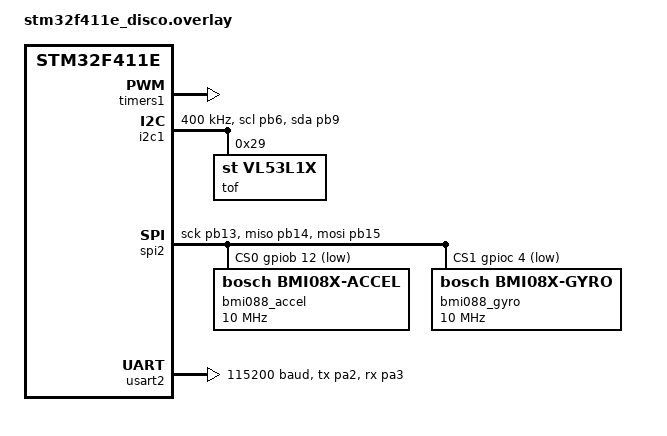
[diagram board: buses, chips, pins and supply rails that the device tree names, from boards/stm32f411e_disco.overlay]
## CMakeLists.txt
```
# SPDX-License-Identifier: Apache-2.0

cmake_minimum_required(VERSION 3.20.0)

find_package(Zephyr REQUIRED HINTS $ENV{ZEPHYR_BASE})
project(flight_controller)

target_sources(app PRIVATE src/main.c
                           src/log.c
                           src/pid/pid.c
                           src/esc/esc.c
                           src/sensors/sensors.c
                           src/comm/uart.c)

# Real-hardware comm/sensor drivers. Their file-scope DEVICE_DT_GET(DT_ALIAS(...))
# only resolves on the real board overlay, and their call sites in sensors.c are
# all guarded out in simulation mode, so exclude them from the simulation build.
target_sources_ifndef(CONFIG_SIMULATION_MODE app PRIVATE
                      src/sensors/barometer/ms5611.c
                      src/sensors/tof/vl53l1x.c
                      src/sensors/imu/bmi088.c
                      src/comm/i2c.c
                      src/comm/spi.c)

target_include_directories(app PRIVATE src
                                       src/pid
                                       src/esc
                                       src/sensors
                                       src/sensors/barometer
                                       src/sensors/tof
                                       src/sensors/imu
                                       src/comm)
```

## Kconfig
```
# SPDX-License-Identifier: Apache-2.0

mainmenu "Virtual PID Application"

config SIMULATION_MODE
	bool "Enable simulation mode"
	default n
	help
	  When enabled, send_motor_command() prints the motor throttle values
	  to the console so the host-side drone simulation can read them.
	  Disable this on real hardware where the motors are driven directly.

config ESC_VERIFY_MODE
	bool "Enable ESC verification ramp"
	default n
	help
	  Enable a temporary throttle ramp for ESC verification tests.
	  When disabled, the application uses the standard fixed throttle output.

config ESC_VERIFY_DELAY_MS
	int "ESC verification startup delay in milliseconds"
	default 10000
	range 0 600000
	depends on ESC_VERIFY_MODE
	help
	  Delay before the ESC verification throttle ramp starts.

config ESC_VERIFY_INTERVAL_MS
	int "ESC verification ramp update interval in milliseconds"
	default 200
	range 0 600000
	depends on ESC_VERIFY_MODE
	help
	  Time between each throttle increment during the ESC verification ramp.

config ESC_VERIFY_START_THROTTLE_PROMILLE
	int "ESC verification initial throttle in permille"
	default 150
	range 0 1000
	depends on ESC_VERIFY_MODE
	help
	  Initial throttle value used by the ESC verification ramp.

config ESC_VERIFY_STEP_PROMILLE
	int "ESC verification throttle step in permille"
	default 20
	range 0 1000
	depends on ESC_VERIFY_MODE
	help
	  Increment step used by the ESC verification ramp.

config ESC_VERIFY_MAX_THROTTLE_PROMILLE
	int "ESC verification maximum throttle in permille"
	default 500
	range 0 1000
	depends on ESC_VERIFY_MODE
	help
	  Maximum throttle value reached by the ESC verification ramp.

config APP_LOG
	bool "Enable application logging over UART"
	depends on SERIAL && UART_CONSOLE
	default y
	help
	  When enabled, log_print() writes formatted diagnostic messages to the
	  UART console. When disabled (for example on targets without a UART
	  console), log_print() compiles to a no-op so that no message is
	  formatted or sent.

source "Kconfig.zephyr"
```

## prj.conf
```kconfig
# Simulation mode: motor commands are printed to the console so the
# host-side drone simulation can read them.
CONFIG_SIMULATION_MODE=n

# Enable floating-point support in printf/printk so the altitude (in meters,
# with decimals) can be logged with "%f". Without this, "%f" is not formatted
# and would also corrupt the following integer argument in the same printf.
CONFIG_CBPRINTF_FP_SUPPORT=y

# Temporary ESC verification ramp only when needed.
CONFIG_ESC_VERIFY_MODE=n
#CONFIG_ESC_VERIFY_START_THROTTLE_PROMILLE=300
#CONFIG_ESC_VERIFY_MAX_THROTTLE_PROMILLE=500

# Peripheral drivers
CONFIG_PWM=y
CONFIG_I2C=y
# SPI bus for the BMI088 IMU (accelerometer + gyroscope on SPI2).
CONFIG_SPI=y

# Sensor subsystem + VL53L1X time-of-flight distance sensor
CONFIG_SENSOR=y
CONFIG_VL53L1X=y
# Polling mode (no INT pin wired). Set to y and add int-gpios to use interrupts.
CONFIG_VL53L1X_INTERRUPT_MODE=n

# BMI088 6-axis IMU (bosch,bmi08x-accel + -gyro on SPI2).
CONFIG_BMI08X=y
# Polling mode (no INT pin wired). Trigger modes need int-gpios in the DT nodes.
CONFIG_BMI08X_ACCEL_TRIGGER_NONE=y
CONFIG_BMI08X_GYRO_TRIGGER_NONE=y
# Required to BUILD the Zephyr BMI08X driver in this version, not by our code.
# We still read via the synchronous sensor API.
CONFIG_SENSOR_ASYNC_API=y

# Kernel timing: 10 kHz tick (100 us resolution) for lower quantization jitter on
# the periodic control loop. Tickless kernel keeps the overhead low (the hardware
# timer is programmed to the next event, so the higher tick rate does not add a
# constant periodic ISR).
CONFIG_TICKLESS_KERNEL=y
CONFIG_SYS_CLOCK_TICKS_PER_SEC=10000
```

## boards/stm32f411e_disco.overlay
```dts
/*
 * SPDX-License-Identifier: Apache-2.0
 *
 */

#include <zephyr/dt-bindings/i2c/i2c.h>
#include <zephyr/dt-bindings/gpio/gpio.h>

/ {
    aliases {
		esc-controller  = &pwm1;
		i2c-interface = &i2c1;
		spi-interface = &spi2;
    };
};

// Four ESC PWM outputs on TIM1 (PE9/PE11/PE13/PE14).
&timers1 {
	compatible = "st,stm32-timers";
	st,prescaler = <95>;   // 96 MHz / (95 + 1) = 1 MHz -> 1 us per tick
	status = "okay";

	pwm1: pwm {
		status = "okay";
		pinctrl-0 = <&tim1_ch1_pe9
			     &tim1_ch2_pe11
			     &tim1_ch3_pe13
			     &tim1_ch4_pe14>;
		pinctrl-names = "default";
	};
};

// I2C1 bus (SCL = PB6, SDA = PB9). Attach sensor devices as child nodes.
&i2c1 {
	pinctrl-0 = <&i2c1_scl_pb6 &i2c1_sda_pb9>;
	pinctrl-names = "default";
	clock-frequency = <I2C_BITRATE_FAST>;
	status = "okay";

	// VL53L1X time-of-flight distance sensor (default I2C address 0x29).
	tof: vl53l1x@29 {
		compatible = "st,vl53l1x";
		reg = <0x29>;
		// Optional pins (uncomment if wired; needs gpio dt-bindings include):
		// xshut-gpios = <&gpiob 5 GPIO_ACTIVE_HIGH>;
		// int-gpios   = <&gpiob 4 GPIO_ACTIVE_LOW>;
	};

	/*
	Alternative to the SPI for the BMI088
	bmi088_accel: accel@18 {
		compatible = "bosch,bmi08x-accel";
		reg = <0x18>;           // 0x18 (SDO1=GND); 0x19 clashes with onboard LSM303.
		accel-hz = "400";       // Output data rate (Hz).
		accel-fs = <6>;         // Full-scale range (+/- g): 3, 6, 12 or 24.
	};

	bmi088_gyro: gyro@68 {
		compatible = "bosch,bmi08x-gyro";
		reg = <0x68>;           // 0x68 (SDO2=GND) or 0x69 (SDO2=VDDIO).
		gyro-hz = "1000_116";   // "<ODR-Hz>_<filter-bandwidth-Hz>".
		gyro-fs = <2000>;       // Full-scale range (+/- deg/s): 125..2000.
	};
	*/
};

// BMI088 6-axis IMU over SPI2 (SCK=PB13, MISO=PB14, MOSI=PB15). SPI2 is free on
// this board (SPI1 is used by the onboard I3G4250D gyro). The accelerometer and
// gyroscope are two separate SPI devices, each selected by its own chip-select
// GPIO in cs-gpios; each child's reg is the index into that list.
// NOTE: confirm the chip-select pins (PB12, PC4) match your actual wiring.
&spi2 {
	pinctrl-0 = <&spi2_sck_pb13 &spi2_miso_pb14 &spi2_mosi_pb15>;
	pinctrl-names = "default";
	// cs-gpios index 0 = accelerometer (PB12), index 1 = gyroscope (PC4).
	cs-gpios = <&gpiob 12 GPIO_ACTIVE_LOW>, <&gpioc 4 GPIO_ACTIVE_LOW>;
	status = "okay";

	bmi088_accel: accel@0 {
		compatible = "bosch,bmi08x-accel";
		reg = <0>;                      // cs-gpios index (accel CS = PB12).
		spi-max-frequency = <10000000>; // 10 MHz (BMI088 SPI max).
		accel-hz = "400";               // Output data rate (Hz).
		accel-fs = <6>;                 // Full-scale range (+/- g): 3, 6, 12 or 24.
	};

	bmi088_gyro: gyro@1 {
		compatible = "bosch,bmi08x-gyro";
		reg = <1>;                      // cs-gpios index (gyro CS = PC4).
		spi-max-frequency = <10000000>; // 10 MHz (BMI088 SPI max).
		gyro-hz = "1000_116";           // "<ODR-Hz>_<filter-bandwidth-Hz>".
		gyro-fs = <2000>;               // Full-scale range (+/- deg/s): 125..2000.
	};
};

/*
 * Default console / logging UART.
 *
 *     chosen {
 *         zephyr,console    = &usart2;
 *         zephyr,shell-uart = &usart2;
 *     };
 */
&usart2 {
	pinctrl-0 = <&usart2_tx_pa2 &usart2_rx_pa3>;
	pinctrl-names = "default";
	current-speed = <115200>;
	status = "okay";
};
```

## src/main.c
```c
#include <stdio.h>

#include <zephyr/kernel.h>

#include "esc.h"
#include "log.h"
#include "pid.h"
#include "sensors.h"

#define REFERENCE_ALTITUDE 100

// 3 ms (333 Hz): faster inner loop, kept below the 400 Hz ESC PWM
#define CONTROL_THREAD_PERIOD_MS 3
#define SENSORS_THREAD_PERIOD_MS 100

// The altitude PID is decimated to the altitude sensor update rate
#define ALTITUDE_PID_PERIOD_MS SENSORS_THREAD_PERIOD_MS
#define ALTITUDE_PID_DECIMATION (ALTITUDE_PID_PERIOD_MS / CONTROL_THREAD_PERIOD_MS)

#define LIFTOFF_THROTTLE 2092
#define THROTTLE_LIMIT 4000
#define MOTOR_NUM 4

// Controller thread configuration
#define PID_THREAD_PRIO 1
K_THREAD_STACK_DEFINE(controller_stack, 2048);
static struct k_thread controller_tid;
// Sensors thread configuration
#define SENSORS_THREAD_PRIO 5
K_THREAD_STACK_DEFINE(sensors_stack, 2048);
static struct k_thread sensors_tid;
// Logging thread configuration (lowest priority: logging must never disturb
// the control or sensor loops)
#define LOGGING_THREAD_PRIO 10
#define LOG_QUEUE_DEPTH 16
K_THREAD_STACK_DEFINE(logging_stack, 1024);
static struct k_thread logging_tid;
K_MSGQ_DEFINE(log_queue, sizeof(struct log_msg), LOG_QUEUE_DEPTH, 4);

pid_handler_t altitude_pid;
static int motor[MOTOR_NUM] = {0, 0, 0, 0};
#if defined(CONFIG_ESC_VERIFY_MODE)
static int motor_command_started = 0;
static uint32_t motor_command_start_ms = 0;
static uint32_t motor_ramp_last_update_ms = 0;
static float motor_throttle = 0.0f;
#endif

static void send_motor_command(int m1, int m2, int m3, int m4);
static int altitude_pid_process(void);
#if defined(CONFIG_ESC_VERIFY_MODE)
static float esc_verify_throttle(void);
#endif

static void controller_thread(void *a, void *b, void *c);
static void sensors_thread(void *a, void *b, void *c);
static void logging_thread(void *a, void *b, void *c);

int main(void)
{
    // Start the logging facility first so early diagnostics can be queued.
    log_init(&log_queue);

    k_thread_create(&logging_tid, logging_stack,
                    K_THREAD_STACK_SIZEOF(logging_stack), logging_thread, NULL,
                    NULL, NULL, LOGGING_THREAD_PRIO, 0, K_NO_WAIT);

    log_print("Controller thread starting...\n");

    pid_init(&altitude_pid, REFERENCE_ALTITUDE, 21, 5, 8);
    esc_init(MOTOR_NUM);

    // Initialize sensors (barometer, etc.) and perform an initial read
    sensors_init();

    k_thread_create(&controller_tid, controller_stack,
                    K_THREAD_STACK_SIZEOF(controller_stack), controller_thread, NULL,
                    NULL, NULL, PID_THREAD_PRIO, 0, K_NO_WAIT);

    k_thread_create(&sensors_tid, sensors_stack,
                    K_THREAD_STACK_SIZEOF(sensors_stack), sensors_thread, NULL,
                    NULL, NULL, SENSORS_THREAD_PRIO, 0, K_NO_WAIT);

    return 0;
}

/**
 * @brief Main control loop: sample the IMU and run the (decimated) altitude PID.
 *
 * @param a
 * @param b
 * @param c
 */
static void controller_thread(void *a, void *b, void *c)
{
    int control = 0;

    send_motor_command(0, 0, 0, 0);

    while (1)
    {
        k_msleep(CONTROL_THREAD_PERIOD_MS);

        // Sample the IMU (accelerometer + gyroscope) directly in the control
        // loop so the readings are as fresh as possible for the control law.
        sensors_imu_process();

        // Altitude PID: runs decimated (at the altitude sensor rate) inside the
        // helper; the last computed output is held and returned in between.
        control = altitude_pid_process();

        for (int i = 0; i < MOTOR_NUM; i++)
        {
            motor[i] = (control + LIFTOFF_THROTTLE);

            if (motor[i] < 0)
                motor[i] = 0;
            else if (motor[i] > THROTTLE_LIMIT)
                motor[i] = THROTTLE_LIMIT;
        }

        send_motor_command(motor[0], motor[1], motor[2], motor[3]);
    }
}

/**
 * @brief Sensors loop: periodically read and publish the altitude.
 *
 * @param a
 * @param b
 * @param c
 */
static void sensors_thread(void *a, void *b, void *c)
{
    log_print("Sensors thread started\n");

    while (1)
    {
        sensors_altitude_process();
        // Call the process function of every new sensor here.

        k_msleep(SENSORS_THREAD_PERIOD_MS);
    }
}

/**
 * @brief Logging loop: drain the log queue to the console.
 *
 * @param a
 * @param b
 * @param c
 */
static void logging_thread(void *a, void *b, void *c)
{
    struct log_msg msg;

    while (1)
    {
        if (k_msgq_get(&log_queue, &msg, K_FOREVER) == 0)
        {
            printf("%s", msg.text);
        }
    }
}

#if defined(CONFIG_ESC_VERIFY_MODE)
/**
 * @brief Ramp the throttle used by the ESC verification mode.
 *
 * @return float
 */
static float esc_verify_throttle(void)
{
    float throttle = 0.0f;
    uint32_t now_ms = k_uptime_get_32();

    if (!motor_command_started)
    {
        motor_command_start_ms = now_ms;
        motor_ramp_last_update_ms = now_ms;
        motor_command_started = 1;
    }

    if ((now_ms - motor_command_start_ms) >= CONFIG_ESC_VERIFY_DELAY_MS)
    {
        if ((now_ms - motor_ramp_last_update_ms) >= CONFIG_ESC_VERIFY_INTERVAL_MS)
        {
            if (motor_throttle < ((float)CONFIG_ESC_VERIFY_START_THROTTLE_PROMILLE / 1000.0f))
            {
                motor_throttle = ((float)CONFIG_ESC_VERIFY_START_THROTTLE_PROMILLE / 1000.0f);
            }
            else
            {
                motor_throttle += ((float)CONFIG_ESC_VERIFY_STEP_PROMILLE / 1000.0f);
            }

            if (motor_throttle > ((float)CONFIG_ESC_VERIFY_MAX_THROTTLE_PROMILLE / 1000.0f))
            {
                motor_throttle = ((float)CONFIG_ESC_VERIFY_MAX_THROTTLE_PROMILLE / 1000.0f);
            }

            motor_ramp_last_update_ms = now_ms;
        }
    }

    throttle = motor_throttle;

    return throttle;
}
#endif

/**
 * @brief Send motor command to the console
 *
 * @param m1
 * @param m2
 * @param m3
 * @param m4
 */
static void send_motor_command(int m1, int m2, int m3, int m4)
{
#ifdef CONFIG_SIMULATION_MODE
    printf("%d.%03d %d.%03d %d.%03d %d.%03d\n", m1 / 1000, m1 % 1000, m2 / 1000,
           m2 % 1000, m3 / 1000, m3 % 1000, m4 / 1000, m4 % 1000);

    fflush(stdout);
#else
    float m[MOTOR_NUM] = {0.0f};

#if defined(CONFIG_ESC_VERIFY_MODE)
    float throttle = esc_verify_throttle();

    m[0] = throttle;
    m[1] = throttle;
    m[2] = throttle;
    m[3] = throttle;
#else
    float throttle = ((float)m1 / (float)THROTTLE_LIMIT);

    m[0] = throttle;
    m[1] = ((float)m2 / (float)THROTTLE_LIMIT);
    m[2] = ((float)m3 / (float)THROTTLE_LIMIT);
    m[3] = ((float)m4 / (float)THROTTLE_LIMIT);
#endif

    esc_set(m);
#endif
}

/**
 * @brief Run the altitude PID at a decimated rate.
 *
 * The sensors thread publishes a new altitude only every ALTITUDE_PID_PERIOD_MS,
 * so the PID is executed once every ALTITUDE_PID_DECIMATION control cycles (with
 * the real decimated dt) and its output is held and returned on the cycles in
 * between. This keeps the derivative term meaningful and avoids recomputing on
 * stale data.
 *
 * @return int
 */
static int altitude_pid_process(void)
{
    static uint32_t counter = 0;
    static uint32_t time = 0;
    static int control = 0;

    if (counter == 0)
    {
        float altitude_feedback = sensors_read_altitude();

        control = pid_run(&altitude_pid, altitude_feedback, time);
        time += ALTITUDE_PID_PERIOD_MS;

        // Hand the diagnostic line to the low-priority logging thread so the
        // control loop is never blocked by the (slow) console output.
        log_print("feedback = %.3f, control = %d\n", (double)altitude_feedback, control);
    }

    counter = (counter + 1) % ALTITUDE_PID_DECIMATION;

    return control;
}
```

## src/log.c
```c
#include "log.h"

#include <stdarg.h>
#include <stdio.h>

// Queue (owned by the caller) used to hand log entries to the logging thread.
static struct k_msgq *log_queue;

/**
 * @brief Initialize the logging module.
 *
 * @param queue Message queue used to hand log entries to the logging thread.
 */
void log_init(struct k_msgq *queue)
{
    log_queue = queue;
}

/**
 * @brief Queue a formatted message for the logging thread.
 *
 * @param fmt printf-style format string, followed by its arguments.
 */
void log_print(const char *fmt, ...)
{
#ifdef CONFIG_APP_LOG
    struct log_msg msg;
    va_list args;

    if (log_queue == NULL)
    {
        return;
    }

    va_start(args, fmt);
    vsnprintf(msg.text, sizeof(msg.text), fmt, args);
    va_end(args);

    // Non-blocking put: drop the message when the queue is full so that logging
    // never blocks the (possibly real-time) calling thread.
    k_msgq_put(log_queue, &msg, K_NO_WAIT);
#else
    (void)fmt;
#endif
}
```

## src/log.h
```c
#ifndef LOG_H
#define LOG_H

#include <zephyr/kernel.h>
#include <zephyr/toolchain.h>

// Maximum length in bytes of a single formatted log line (NUL terminator included).
#define LOG_MSG_MAX_LEN 128

// A single log entry as copied through the logging queue.
struct log_msg
{
    char text[LOG_MSG_MAX_LEN];
};

void log_init(struct k_msgq *queue);
void log_print(const char *fmt, ...) __printf_like(1, 2);

#endif  // LOG_H
```
